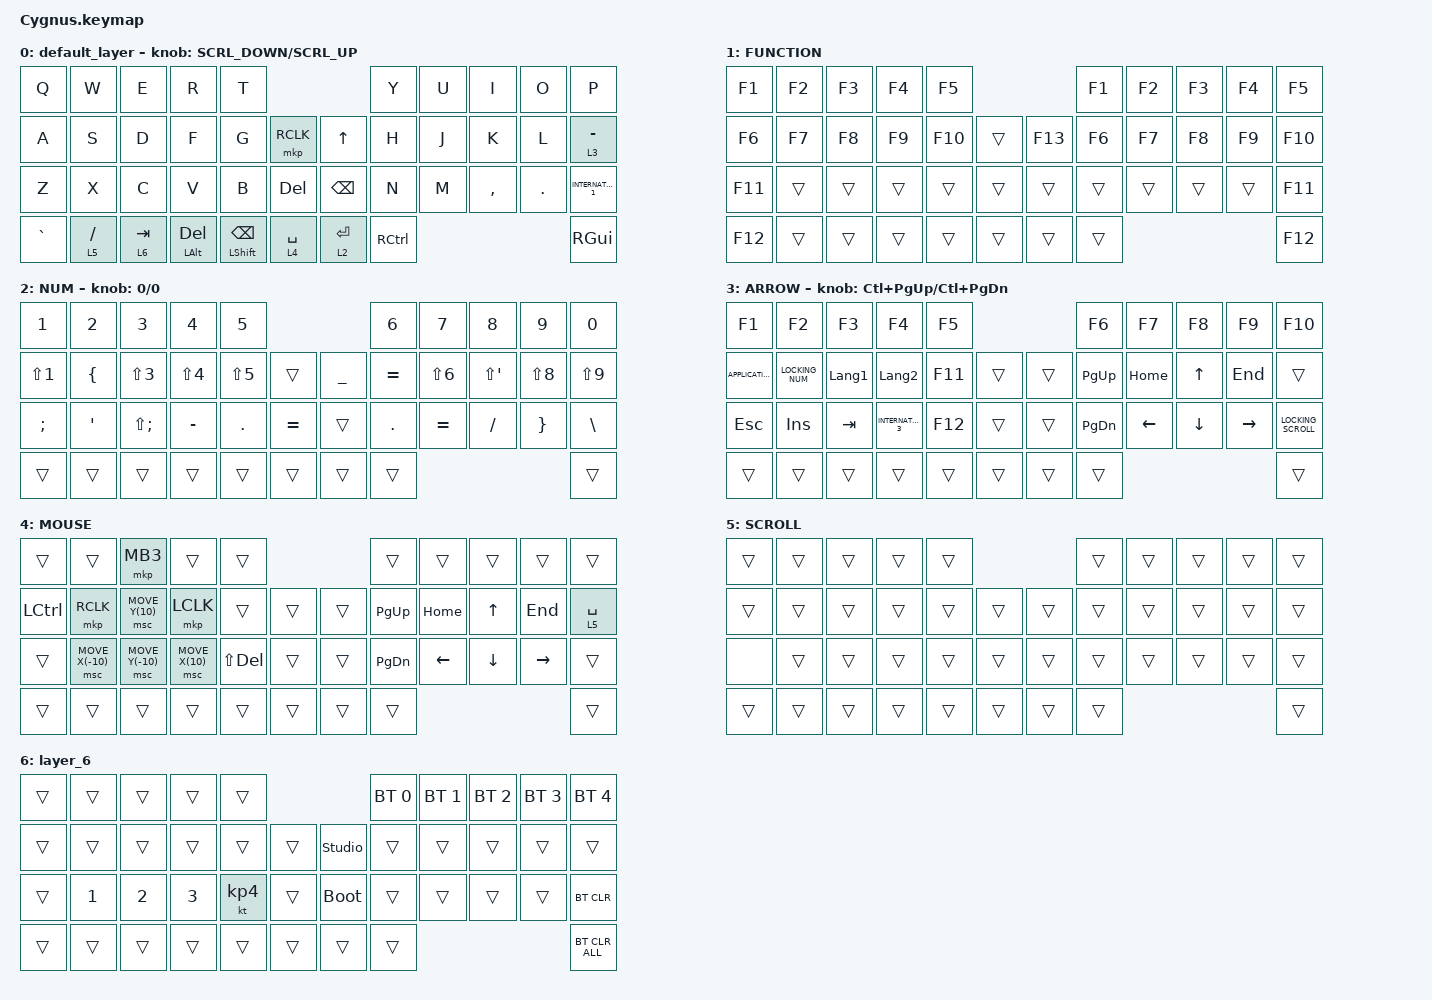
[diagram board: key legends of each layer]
#define ZMK_POINTING_DEFAULT_SCRL_VAL 120    // default: 10

#include <behaviors.dtsi>
#include <dt-bindings/zmk/bt.h>
#include <dt-bindings/zmk/keys.h>
#include <dt-bindings/zmk/pointing.h>

#define MOUSE 4
#define SCROLL 5
#define NUM 6

&mt {
    flavor = "balanced";
    quick-tap-ms = <0>;
};

/ {
    combos {
        compatible = "zmk,combos";

        double_quotation {
            bindings = <&kp DOUBLE_QUOTES>;
            key-positions = <20 21>;
        };
    };

    macros {
        to_layer_0: to_layer_0 {
            compatible = "zmk,behavior-macro-one-param";
            #binding-cells = <1>;
            bindings = <&to 0 &macro_param_1to1 &kp MACRO_PLACEHOLDER>;
            label = "TO_LAYER_0";
        };
    };

    behaviors {
        lt_to_layer_0: lt_to_layer_0 {
            compatible = "zmk,behavior-hold-tap";
            label = "LAYER_TAP_TO_0";
            bindings = <&mo>, <&to_layer_0>;

            #binding-cells = <2>;
            tapping-term-ms = <200>;
        };

        ROTATE: ROTATE {
            compatible = "zmk,behavior-sensor-rotate-var";
            label = "ROTATE";
            #sensor-binding-cells = <2>;
            bindings = <&msc>, <&msc>;

            tap-ms = <20>;
        };
    };

    keymap {
        compatible = "zmk,keymap";

        default_layer {
            bindings = <
&kp Q      &kp W        &kp E      &kp R                &kp T                                                     &kp Y              &kp U  &kp I      &kp O    &kp P
&kp A      &kp S        &kp D      &kp F                &kp G                     &mkp RCLK        &kp UP_ARROW   &kp H              &kp J  &kp K      &kp L    &lt 3 MINUS
&kp Z      &kp X        &kp C      &kp V                &kp B                     &kp DELETE       &kp BACKSPACE  &kp N              &kp M  &kp COMMA  &kp DOT  &kp INTERNATIONAL_1
&kp GRAVE  &lt 5 SLASH  &lt 6 TAB  &mt LEFT_ALT DELETE  &mt LEFT_SHIFT BACKSPACE  &lt 4 SPACE      &lt 2 ENTER    &kp RIGHT_CONTROL                             &kp RIGHT_GUI
            >;

            sensor-bindings = <&ROTATE SCRL_DOWN SCRL_UP>;
        };

        FUNCTION {
            bindings = <
&kp F1   &kp F2  &kp F3  &kp F4  &kp F5                        &kp F1  &kp F2  &kp F3  &kp F4  &kp F5
&kp F6   &kp F7  &kp F8  &kp F9  &kp F10  &trans      &kp F13  &kp F6  &kp F7  &kp F8  &kp F9  &kp F10
&kp F11  &trans  &trans  &trans  &trans   &trans      &trans   &trans  &trans  &trans  &trans  &kp F11
&kp F12  &trans  &trans  &trans  &trans   &trans      &trans   &trans                          &kp F12
            >;
        };

        NUM {
            bindings = <
&kp NUMBER_1      &kp NUMBER_2    &kp NUMBER_3      &kp NUMBER_4      &kp NUMBER_5                                     &kp NUMBER_6  &kp NUMBER_7      &kp NUMBER_8  &kp NUMBER_9      &kp NUMBER_0
&kp LS(NUMBER_1)  &kp LEFT_BRACE  &kp LS(NUMBER_3)  &kp LS(NUMBER_4)  &kp LS(NUMBER_5)  &trans         &kp UNDERSCORE  &kp EQUAL     &kp LS(NUMBER_6)  &kp LS(APOS)  &kp LS(NUMBER_8)  &kp LS(NUMBER_9)
&kp SEMI          &kp APOSTROPHE  &kp LS(SEMI)      &kp MINUS         &kp PERIOD        &kp EQUAL      &trans          &kp PERIOD    &kp EQUAL         &kp SLASH     &kp RIGHT_BRACE   &kp BACKSLASH
&trans            &trans          &trans            &trans            &trans            &trans         &trans          &trans                                                          &trans
            >;

            sensor-bindings = <&inc_dec_kp 0 0>;
        };

        ARROW {
            bindings = <
&kp F1             &kp F2           &kp F3          &kp F4               &kp F5                       &kp F6         &kp F7          &kp F8          &kp F9           &kp F10
&kp K_APPLICATION  &kp LOCKING_NUM  &kp LANGUAGE_1  &kp LANGUAGE_2       &kp F11  &trans      &trans  &kp PAGE_UP    &kp HOME        &kp UP_ARROW    &kp END          &trans
&kp ESC            &kp INSERT       &kp TAB         &kp INTERNATIONAL_3  &kp F12  &trans      &trans  &kp PAGE_DOWN  &kp LEFT_ARROW  &kp DOWN_ARROW  &kp RIGHT_ARROW  &kp LOCKING_SCROLL
&trans             &trans           &trans          &trans               &trans   &trans      &trans  &trans                                                          &trans
            >;

            sensor-bindings = <&inc_dec_kp LC(PAGE_UP) LC(PAGE_DOWN)>;
        };

        MOUSE {
            bindings = <
&trans            &trans            &mkp MB3          &trans           &trans                              &trans         &trans          &trans          &trans           &trans
&kp LEFT_CONTROL  &mkp RCLK         &msc MOVE_Y(10)   &mkp LCLK        &trans          &trans      &trans  &kp PAGE_UP    &kp HOME        &kp UP_ARROW    &kp END          &lt 5 SPACE
&trans            &msc MOVE_X(-10)  &msc MOVE_Y(-10)  &msc MOVE_X(10)  &kp LS(DELETE)  &trans      &trans  &kp PAGE_DOWN  &kp LEFT_ARROW  &kp DOWN_ARROW  &kp RIGHT_ARROW  &trans
&trans            &trans            &trans            &trans           &trans          &trans      &trans  &trans                                                          &trans
            >;
        };

        SCROLL {
            bindings = <
&trans  &trans  &trans  &trans  &trans                      &trans  &trans  &trans  &trans  &trans
&trans  &trans  &trans  &trans  &trans  &trans      &trans  &trans  &trans  &trans  &trans  &trans
&none   &trans  &trans  &trans  &trans  &trans      &trans  &trans  &trans  &trans  &trans  &trans
&trans  &trans  &trans  &trans  &trans  &trans      &trans  &trans                          &trans
            >;
        };

        layer_6 {
            bindings = <
&trans  &trans        &trans        &trans        &trans                                 &bt BT_SEL 0  &bt BT_SEL 1  &bt BT_SEL 2  &bt BT_SEL 3  &bt BT_SEL 4
&trans  &trans        &trans        &trans        &trans     &trans      &studio_unlock  &trans        &trans        &trans        &trans        &trans
&trans  &kp NUMBER_1  &kp NUMBER_2  &kp NUMBER_3  &kt KP_N4  &trans      &bootloader     &trans        &trans        &trans        &trans        &bt BT_CLR
&trans  &trans        &trans        &trans        &trans     &trans      &trans          &trans                                                  &bt BT_CLR_ALL
            >;
        };
    };
};
